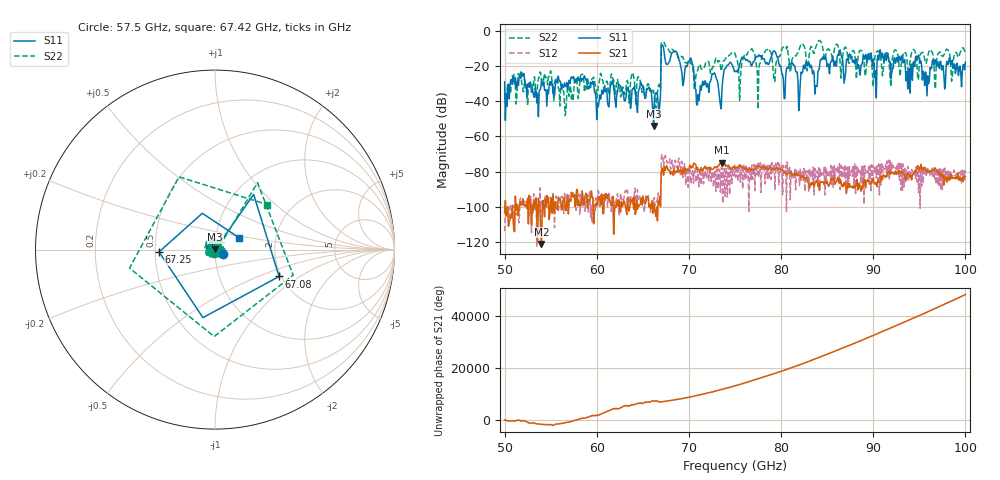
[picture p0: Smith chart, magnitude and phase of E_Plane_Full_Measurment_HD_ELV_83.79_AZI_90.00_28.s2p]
! 11/26/2026 3:29:27 PM
! C:\ANRITSUVNA\TEMP\TEMP.S2P
! CHANNEL.1
! TR.MEASUREMENT
! RAW.DATA
# HZ S RI R 50.0
! FREQ.HZ  S11RE  S11IM  S21RE  S21IM  S12RE  S12IM  S22RE  S22IM
!; PortSelection: Port_12
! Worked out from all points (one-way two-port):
!   601 points, 50 GHz to 100 GHz, reference 50 ohm
!   highest |S21| = -74.81 dB at 73.58 GHz (marker M1); lowest = -120.9 dB at 54 GHz (marker M2)
!   lowest |S11| = -54.0 dB at 66.17 GHz (marker M3), VSWR 1.00, Z = 50.1 + j0.144 ohm
!   |S11| at or under -10 dB: start of sweep to 67 GHz; 67.24 GHz to end of sweep
!   |S22| runs from -48.1 to -5.6 dB; largest |S21 - S12| = 0.00037
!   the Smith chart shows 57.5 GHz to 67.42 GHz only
!   S11 on the Smith chart (normalised r, x): 57.5 GHz: 1.09, -0.05; 67.08 GHz: 1.95, -0.69; 67.25 GHz: 0.52, -0.01; 67.42 GHz: 1.29, +0.18
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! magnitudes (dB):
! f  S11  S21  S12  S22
! 50 GHz  -29.0  -103.2  -113.7  -35.8
! 54 GHz  -28.7  -120.9  -96.6  -28.4
! 57.5 GHz  -26.2  -92.9  -94.2  -34.7
! 58.42 GHz  -27.1  -90.7  -100.2  -24.7
! 60.17 GHz  -43.2  -94.8  -90.6  -30.4
! 66.17 GHz  -54.0  -97.7  -95.5  -34.0
! 66.67 GHz  -41.5  -96.7  -92.0  -31.7
! 67.08 GHz  -8.2  -77.8  -70.2  -6.8
! 67.25 GHz  -10.1  -81.9  -76.7  -6.2
! 67.42 GHz  -16.6  -79.3  -70.8  -8.3
! 70.17 GHz  -15.5  -76.3  -83.3  -18.6
! 70.67 GHz  -33.0  -75.7  -77.9  -33.1
! 73.58 GHz  -33.6  -74.8  -77.6  -21.1
! 75 GHz  -23.3  -78.0  -75.9  -13.0
! 79.25 GHz  -11.5  -78.9  -75.5  -28.8
! 80.25 GHz  -28.0  -79.4  -76.4  -9.3
! 83.42 GHz  -24.5  -85.9  -84.5  -10.8
! 91.67 GHz  -16.8  -80.2  -73.3  -15.2
! 93.75 GHz  -33.1  -80.7  -77.0  -21.3
! 94.83 GHz  -15.0  -76.6  -76.9  -27.9
! 95.83 GHz  -37.0  -79.1  -79.6  -16.5
! 100 GHz  -17.8  -82.7  -78.9  -12.5
